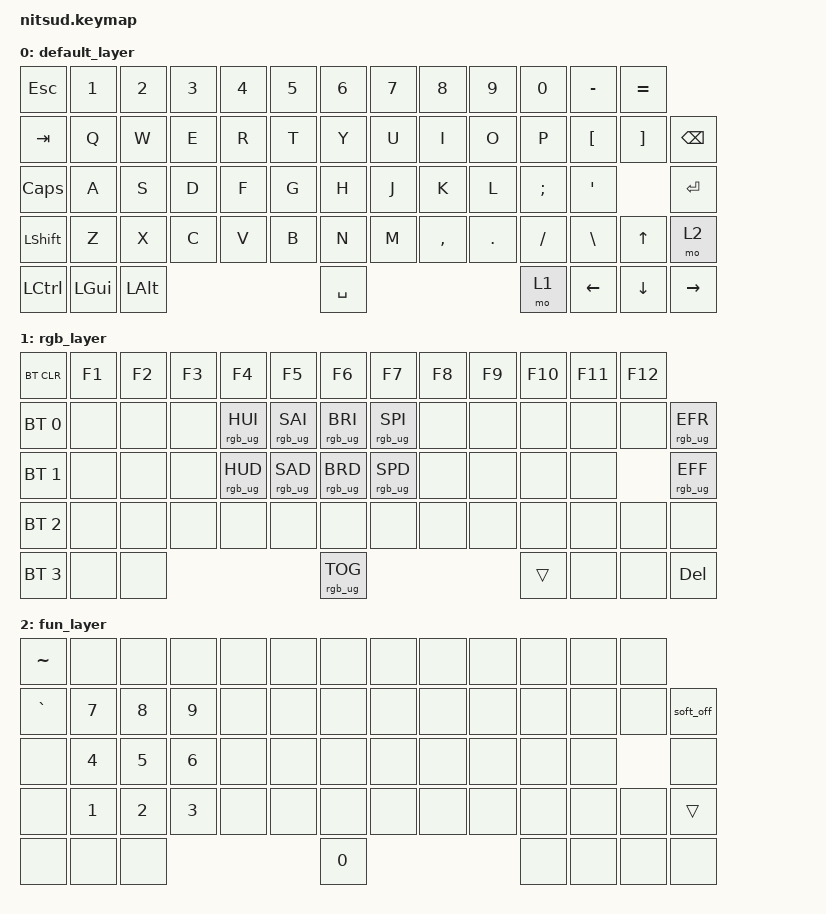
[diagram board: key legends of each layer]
/*
 * Copyright (c) 2025 Dustin Trimmer
 */

#include <behaviors.dtsi>
#include <dt-bindings/zmk/keys.h>
#include <dt-bindings/zmk/rgb.h>
#include <dt-bindings/zmk/bt.h>

/ {
    keymap {
        compatible = "zmk,keymap";

        default_layer {
// -------------------------------------------------------------------------------
// | ESC |  1  |  2  |  3  |  4  |  5  |  6  |  7  |  8  |  9  |  0  |  -  |  =  |-----------
// | TAB  |  Q  |  W  |  E  |  R  |  T  |  Y  |  U  |  I  |  O  |  P  |  [  |  ]  | BACKSPC |
// | CAPS  |  A  |  S  |  D  |  F  |  G  |  H  |  J  |  K  |  L  |  ;  |  '  |     ENTER    |
// |  SHIFT  |  Z  |  X  |  C  |  V  |  B  |  N  |  M  |  ,  |  .  |  /  |  \  | UP | MO(2) |
// |  CTL  |  WIN  |  ALT  |            SPACE              |  MO(1) | LEFT  | DOWN | RIGHT  |
// ------------------------------------------------------------------------------------------
            bindings = <
    &kp ESC   &kp N1   &kp N2   &kp N3 &kp N4 &kp N5 &kp N6    &kp N7 &kp N8    &kp N9  &kp N0   &kp MINUS  &kp EQUAL
    &kp TAB   &kp Q    &kp W    &kp E  &kp R  &kp T  &kp Y     &kp U  &kp I     &kp O   &kp P    &kp LBKT   &kp RBKT  &kp BSPC
    &kp CLCK  &kp A    &kp S    &kp D  &kp F  &kp G  &kp H     &kp J  &kp K     &kp L   &kp SEMI &kp SQT              &kp RET
    &kp LSHFT &kp Z    &kp X    &kp C  &kp V  &kp B  &kp N     &kp M  &kp COMMA &kp DOT &kp FSLH &kp BSLH   &kp UP    &mo 2
    &kp LCTRL &kp LGUI &kp LALT                      &kp SPACE                          &mo 1    &kp LEFT   &kp DOWN  &kp RIGHT
            >;
        };

        rgb_layer {
// ------------------------------------------------------------------------------------
// | BT CLR | F1  | F2  | F3  | F4  | F5  | F6  | F7  | F8  | F9  | F10  | F11 | F12  |------------
// |  BT 1   |   |      |   | HUEUP | SATUP | BRIUP | SPDUP |   |     |    |     |     |EFFECT REV|
// |   BT 2   |    |      |    | HUEDN | SATDN | BRIDN | SPDDN |   |     |   |     |  EFFECT FORW |
// |    BT 3     |     |      |      |     |     |     |     |     |     |     |     |     |      |
// |   BT 4  |      |      |             TOG RGB                | trans |       |       |  DEL  |
// ------------------------------------------------------------------------------------------------
            bindings = <
    &bt BT_CLR    &kp F1   &kp F2   &kp F3  &kp F4           &kp F5           &kp F6           &kp F7           &kp F8  &kp F9  &kp F10   &kp F11  &kp F12
    &bt BT_SEL 0  &none    &none    &none   &rgb_ug RGB_HUI  &rgb_ug RGB_SAI  &rgb_ug RGB_BRI  &rgb_ug RGB_SPI  &none   &none   &none     &none    &none    &rgb_ug RGB_EFR
    &bt BT_SEL 1  &none    &none    &none   &rgb_ug RGB_HUD  &rgb_ug RGB_SAD  &rgb_ug RGB_BRD  &rgb_ug RGB_SPD  &none   &none   &none     &none             &rgb_ug RGB_EFF
    &bt BT_SEL 2  &none    &none    &none   &none            &none            &none            &none            &none   &none   &none     &none    &none    &none
    &bt BT_SEL 3  &none    &none                                              &rgb_ug RGB_TOG                                   &trans    &none    &none    &kp DEL
            >;
        };



        fun_layer {
// ------------------------------------------------------------------------------------
// |        |     |     |     |     |     |     |     |     |     |      |     |       |------------
// |         |   |      |   |       |       |       |       |   |     |    |     |     |          |
// |          |    |      |    |       |       |       |       |   |     |   |     |              |
// |             |     |      |      |     |     |     |     |     |     |     |     |     |      |
// |         |      |      |                                    |        |       |       |        |
// ------------------------------------------------------------------------------------------------
            bindings = <
    &kp TILDE  &none  &none  &none  &none  &none  &none  &none  &none  &none  &none  &none  &none
    &kp GRAVE  &kp N7  &kp N8  &kp N9  &none  &none  &none  &none  &none  &none  &none  &none  &none  &soft_off
    &none  &kp N4  &kp N5  &kp N6  &none  &none  &none  &none  &none  &none  &none  &none         &none
    &none  &kp N1  &kp N2  &kp N3  &none  &none  &none  &none  &none  &none  &none  &none  &none  &trans
    &none  &none  &none                       &kp N0                       &none  &none  &none  &none
            >;
        };
    };
};

&led_strip {
    chain-length = <62>;
};
